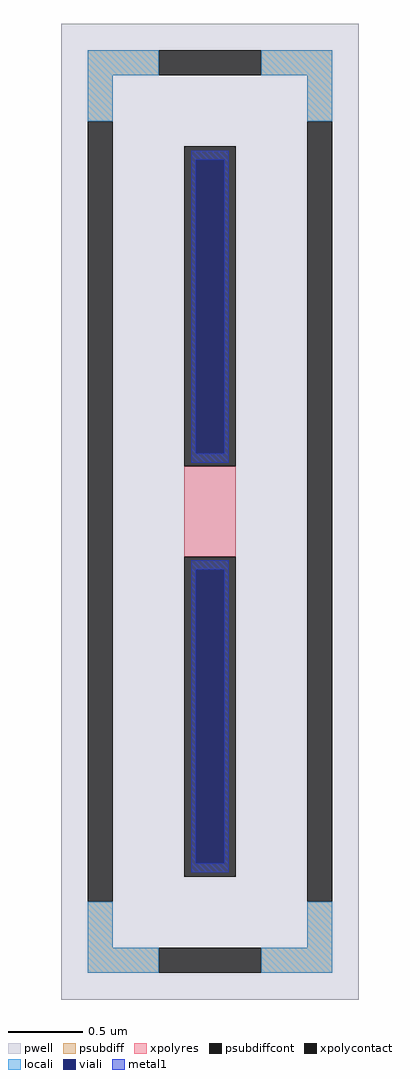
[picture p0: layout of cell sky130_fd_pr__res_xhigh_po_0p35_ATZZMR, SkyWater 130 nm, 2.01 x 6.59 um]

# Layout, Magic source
magic
tech sky130A
magscale 1 2
<< pwell >>
rect -201 -659 201 659
<< psubdiff >>
rect -165 589 -69 623
rect 69 589 165 623
rect -165 527 -131 589
rect 131 527 165 589
rect -165 -589 -131 -527
rect 131 -589 165 -527
rect -165 -623 -69 -589
rect 69 -623 165 -589
<< psubdiffcont >>
rect -69 589 69 623
rect -165 -527 -131 527
rect 131 -527 165 527
rect -69 -623 69 -589
<< xpolycontact >>
rect -35 61 35 493
rect -35 -493 35 -61
<< xpolyres >>
rect -35 -61 35 61
<< locali >>
rect -165 589 -69 623
rect 69 589 165 623
rect -165 527 -131 589
rect 131 527 165 589
rect -165 -589 -131 -527
rect 131 -589 165 -527
rect -165 -623 -69 -589
rect 69 -623 165 -589
<< viali >>
rect -19 78 19 475
rect -19 -475 19 -78
<< metal1 >>
rect -25 475 25 487
rect -25 78 -19 475
rect 19 78 25 475
rect -25 66 25 78
rect -25 -78 25 -66
rect -25 -475 -19 -78
rect 19 -475 25 -78
rect -25 -487 25 -475
<< properties >>
string FIXED_BBOX -148 -606 148 606
string gencell sky130_fd_pr__res_xhigh_po_0p35
string library sky130
string parameters w 0.350 l 0.769 m 1 nx 1 wmin 0.350 lmin 0.50 rho 2000 val 5.469k dummy 0 dw 0.0 term 188.2 sterm 0.0 caplen 0 wmax 0.350 guard 1 glc 1 grc 1 gtc 1 gbc 1 compatible {sky130_fd_pr__res_xhigh_po_0p35  sky130_fd_pr__res_xhigh_po_0p69 sky130_fd_pr__res_xhigh_po_1p41  sky130_fd_pr__res_xhigh_po_2p85 sky130_fd_pr__res_xhigh_po_5p73} snake 0 full_metal 1 n_guard 0 hv_guard 0 vias 1 viagb 0 viagt 0 viagl 0 viagr 0
<< end >>
